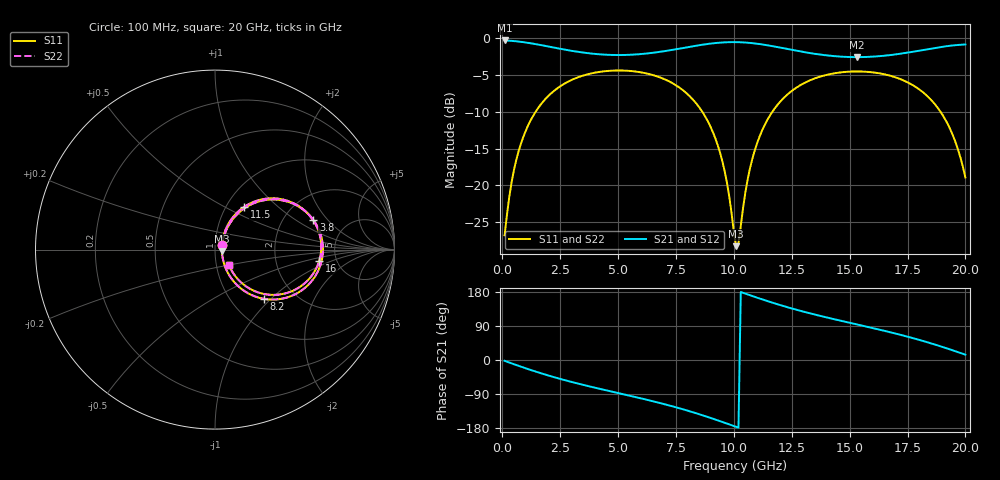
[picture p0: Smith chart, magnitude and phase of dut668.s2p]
! Touchstone file exported from HFSS 2026.1.0
!  File:  C:/ffzhzh/LocalFiles/Ansys_Project_Files/temp_train_TSV_RDL_668_1783131745_37876.aedt
!  Generated:  10:36:44 AM Jul  4, 2026
!  Design:  TSV_RDL
!  Project:  temp_train_TSV_RDL_668_1783131745_37876
! Variables:
!  h_bsmrdl = 4.45um
!  h_ox = 20um
!  h_rdl = 5um
!  h_sub = 93.41um
!  h_tmrdl = 3.5um
!  h_tsv = 93.41um
!  h_via = 3um
!  l_bsmrdl = 999.73um
!  l_sub = 5676.7um
!  l_tmrdl = 551.58um
!  m_sub = 200um
!  pitch = 41.69um
!  r_tsv = 9.04um
!  s_tmrdl = 10um
!  w_bsmrdl = 11.64um
!  w_sub = 500um
!  w_tmrdl = 12.09um
!  x_tsv_center1 = 557.625um
!  x_tsv_center2 = 1568.995um
!  x_tsv_center3 = 2132.665um
!  x_tsv_center4 = 3144.035um
!  x_tsv_center5 = 3707.705um
!  x_tsv_center6 = 4719.075um
# GHz S MA R 50.000000
! Terminal data exported
! Port[1] = TM_RDL1_1_T1
! Port[2] = TM_RDL5_1_T1
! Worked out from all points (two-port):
!   200 points, 100 MHz to 20 GHz, reference 50 ohm
!   highest |S21| = -0.35 dB at 100 MHz (marker M1); lowest = -2.6 dB at 15.3 GHz (marker M2)
!   |S21| within 3 dB of the highest: start of sweep to end of sweep
!   lowest |S11| = -28.2 dB at 10.1 GHz (marker M3), VSWR 1.08, Z = 54 - j0.745 ohm
!   |S11| at or under -10 dB: start of sweep to 1.443 GHz; 8.633 GHz to 11.67 GHz (3.034 GHz wide, 29.9 % of centre); 18.92 GHz to end of sweep
!   |S22| runs from -28.2 to -4.4 dB; largest |S21 - S12| = 1.6e-14
!   S11 on the Smith chart (normalised r, x): 100 MHz: 1.08, +0.05; 3.8 GHz: 2.91, +1.42; 8.2 GHz: 1.41, -0.91; 11.5 GHz: 1.21, +0.63; 16 GHz: 3.66, -0.70; 20 GHz: 1.15, -0.19
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0.1  0.04601 30.4  0.9609 -2.3  0.9609 -2.3  0.04601 30.4
! Gamma 0 0 0 0
! Port Impedance 50 0 50 0
0.5  0.1266 60.0  0.9518 -11.1  0.9518 -11.1  0.1266 60.0
1.2  0.2715 55.4  0.9212 -25.8  0.9212 -25.8  0.2715 55.4
2.2  0.4332 40.1  0.8618 -44.7  0.8618 -44.7  0.4332 40.1
3.5  0.5561 20.9  0.7951 -65.8  0.7951 -65.8  0.5561 20.9
3.8  0.5725 16.7  0.7846 -70.2  0.7846 -70.2  0.5725 16.7
5.3  0.6002 -3.3  0.7662 -91.4  0.7662 -91.4  0.6002 -3.3
6.8  0.5407 -23.8  0.8043 -113.4  0.8043 -113.4  0.5407 -23.8
8.2  0.387 -45.2  0.8761 -137.3  0.8761 -137.3  0.387 -45.1
9.4  0.1676 -60.9  0.9288 -161.3  0.9288 -161.3  0.1677 -60.8
9.7  0.1049 -59.0  0.9348 -167.7  0.9348 -167.7  0.105 -58.8
10.1  0.03877 -10.2  0.9364 -176.3  0.9364 -176.3  0.03909 -10.1
10.2  0.0407 20.6  0.9356 -178.5  0.9356 -178.5  0.04102 20.4
10.8  0.1518 62.6  0.9214 168.7  0.9214 168.7  0.1519 62.5
11.5  0.2874 55.8  0.8888 154.5  0.8888 154.5  0.2874 55.7
13.4  0.5244 27.7  0.7842 121.4  0.7842 121.4  0.5244 27.7
15.3  0.5925 2.7  0.7408 94.0  0.7408 94.0  0.5925 2.7
16  0.584 -6.2  0.7464 84.2  0.7464 84.2  0.584 -6.3
16.7  0.5571 -15.4  0.7632 74.1  0.7632 74.1  0.557 -15.4
18.8  0.3366 -44.9  0.8606 38.6  0.8606 38.6  0.3366 -45.0
19.5  0.2106 -52.2  0.8904 24.5  0.8904 24.5  0.2106 -52.3
20  0.1132 -47.4  0.9026 14.0  0.9026 14.0  0.1131 -47.5
